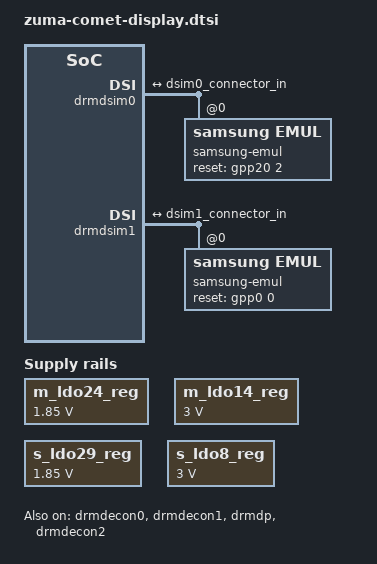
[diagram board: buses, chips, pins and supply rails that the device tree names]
// SPDX-License-Identifier: GPL-2.0-only
/*
 * comet display device tree source
 *
 * Copyright 2023 Google LLC
 *
 */

#include <dt-bindings/gpio/gpio.h>
#include "zuma-comet-connector.dtsi"

&dsim_modes {
	dsim-modes {
		1072x2400 {
			mode-name = "1072x2400";
			pmsk = <
				0x2 0xB3 0x2 0x5CAB /* p m s k */
				>;
			hs-clk = <1102>;
			esc-clk = <20>;
		};
		2152x2076 {
			mode-name = "2152x2076";
			pmsk = <
				0x2 0xDB 0x2 0x1355 /* p m s k */
				>;
			hs-clk = <1346>;
			esc-clk = <20>;
		};
		1080x2424 {
			mode-name = "1080x2424";
			pmsk = <
				0x2 0x8D 0x2 0xC9AB /* p m s k */
				>;
			hs-clk = <865>;
			esc-clk = <20>;
		};
	};
};

&drmdsim0 {
	#address-cells = <1>;
	#size-cells = <0>;

	panel@0 {
		compatible = "samsung,emul";
		label = "samsung-emul";
		channel = <0>;

		/* reset, power */
		reset-gpios = <&gpp20 2 GPIO_ACTIVE_HIGH>;
	};
	ports {
		#address-cells = <1>;
		#size-cells = <0>;
		port@0 {
			reg = <0>;
			/* output */
			dsim0_connector_out: endpoint {
			remote-endpoint = <&dsim0_connector_in>;
			};
		};
	};
};

&drmdsim1 {
	#address-cells = <1>;
	#size-cells = <0>;
	status = "okay";

	panel@0 {
		compatible = "samsung,emul";
		label = "samsung-emul";
		channel = <0>;

		/* reset, power */
		reset-gpios = <&gpp0 0 GPIO_ACTIVE_HIGH>;
	};
	ports {
		#address-cells = <1>;
		#size-cells = <0>;
		port@0 {
			reg = <0>;
			/* output */
			dsim1_connector_out: endpoint {
			remote-endpoint = <&dsim1_connector_in>;
			};
		};
	};
};

&drmdecon0 {
	status = "okay";
	connector = <0x1 0x2 0x10>;
	bts_scen_name = "dpu_qurgent_default";
	bts_scen_min_panel_width = <2152>;
	bts_scen_min_panel_height = <2076>;
	bts_scen_min_fps = <120>;
	bts_scen_min_rt = <1930198>;
	bts_scen_max_rt = <3494400>;
	bts_scen_min_peak = <0>;
	bts_scen_max_peak = <5553600>;
	bts_scen_skip_with_video;
};

&drmdecon1 {
	status = "okay";
	connector = <0x1 0x2 0x10>;
	bts_scen_name = "dpu_qurgent_default";
	bts_scen_min_panel_width = <1080>;
	bts_scen_min_panel_height = <2424>;
	bts_scen_min_fps = <120>;
	bts_scen_min_rt = <5004799>;
	bts_scen_max_rt = <5105906>;
	bts_scen_min_peak = <4609478>;
	bts_scen_max_peak = <4702599>;
};

&drmdp {
	status = "okay";
	aux-orientation = "auto";
};

&drmdecon2 {
	status = "okay";
};

&m_ldo24_reg {
	regulator-boot-on;
	regulator-min-microvolt = <1850000>;
	regulator-max-microvolt = <1850000>;
	schematic-name = "L24M_INNER_DISP_VDDI";
	subsys-name = "Display";
};

&m_ldo14_reg {
	regulator-boot-on;
	regulator-min-microvolt = <3000000>;
	regulator-max-microvolt = <3000000>;
	schematic-name = "L14M_INNER_DISP_VCI";
	subsys-name = "Display";
};

&disp_vddr_0 {
	status = "okay";
	gpio = <&gpp21 4 GPIO_ACTIVE_HIGH>;
	schematic-name = "INNER_DISP_VDDR";
	subsys-name = "Display";
};

&s_ldo29_reg {
	regulator-always-on;
	regulator-min-microvolt = <1850000>;
	regulator-max-microvolt = <1850000>;
	schematic-name = "L29S_OUTER_DISP_VDDI";
	subsys-name = "Display";
};

&s_ldo8_reg {
	regulator-boot-on;
	regulator-min-microvolt = <3000000>;
	regulator-max-microvolt = <3000000>;
	schematic-name = "L8S_OUTER_DISP_VCI";
	subsys-name = "Display";
};

&disp_vddd {
	status = "okay";
	gpio = <&s2mpg14_gpio 3 GPIO_ACTIVE_HIGH>;
	schematic-name = "OUTER_DISP_VDDD";
	subsys-name = "Display";
};
